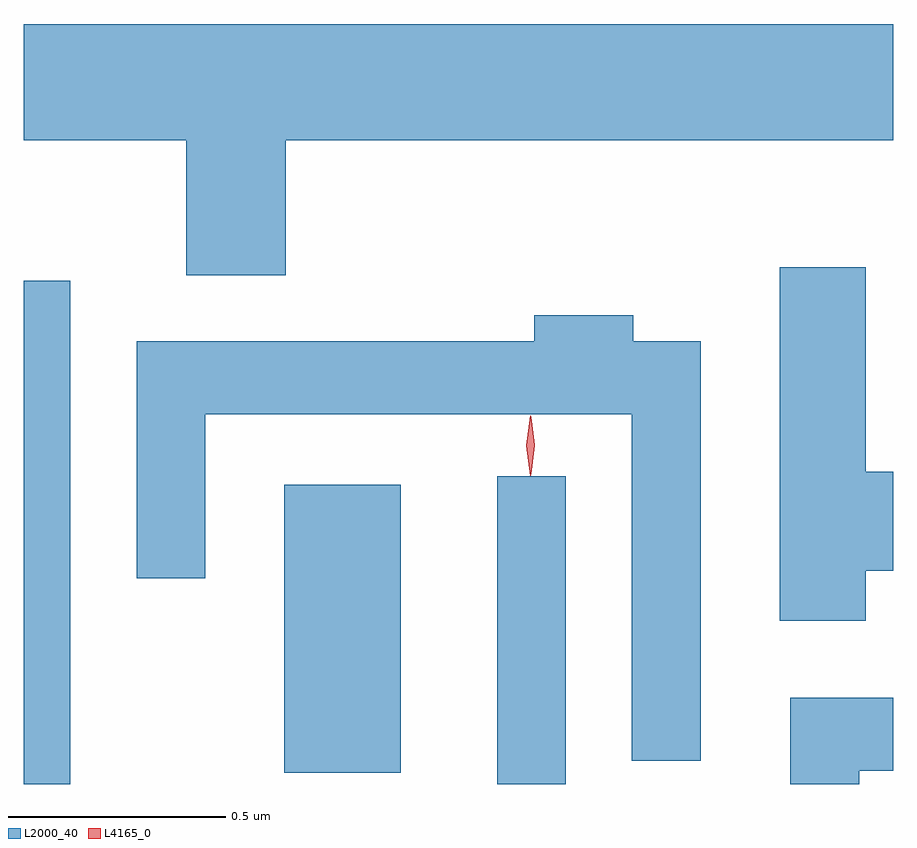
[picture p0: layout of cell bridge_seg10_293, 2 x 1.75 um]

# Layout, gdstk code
import gdstk
lib = gdstk.Library(unit=1e-6, precision=1e-09)
def R(c, l, rs):  # rectangles x0, y0, x1, y1
    for r in rs: c.add(gdstk.rectangle(r[:2], r[2:], *l))
def P(c, l, *ps):  # polygons
    for p in ps: c.add(gdstk.Polygon(p, *l))
L2000_40 = (2000, 40)
L4165_0 = (4165, 0)

bridge_seg10_293 = lib.new_cell('bridge_seg10_293')
R(bridge_seg10_293, L2000_40, [(1822.317,2101.335,1822.424,2102.493), (1823.406,2101.335,1823.564,2102.043), (1822.916,2101.361,1823.184,2102.024)])
P(bridge_seg10_293, L2000_40, [(1822.919,2102.816),(1824.317,2102.816),(1824.317,2103.084),(1822.317,2103.084),(1822.317,2102.816),(1822.691,2102.816),(1822.691,2102.506),(1822.919,2102.506)],
  [(1824.254,2101.826),(1824.317,2101.826),(1824.317,2102.054),(1824.254,2102.054),(1824.254,2102.524),(1824.056,2102.524),(1824.056,2101.711),(1824.254,2101.711)],
  [(1823.874,2102.354),(1823.719,2102.354),(1823.719,2102.414),(1823.491,2102.414),(1823.491,2102.354),(1822.576,2102.354),(1822.576,2101.808),(1822.734,2101.808),(1822.734,2102.186),(1823.716,2102.186),(1823.716,2101.388),(1823.874,2101.388)],
  [(1824.239,2101.366),(1824.317,2101.366),(1824.317,2101.534),(1824.081,2101.534),(1824.081,2101.335),(1824.239,2101.335)])
P(bridge_seg10_293, L4165_0, [(1823.483,2102.047),(1823.483,2102.048),(1823.473,2102.114),(1823.483,2102.18),(1823.483,2102.181),(1823.484,2102.18),(1823.493,2102.114),(1823.484,2102.048)],
  [(1823.482,2102.044),(1823.473,2102.113),(1823.482,2102.182),(1823.483,2102.183),(1823.483,2102.182),(1823.493,2102.113),(1823.483,2102.044),(1823.483,2102.044)])

lib.write_gds('bridge_seg10_293.gds')
